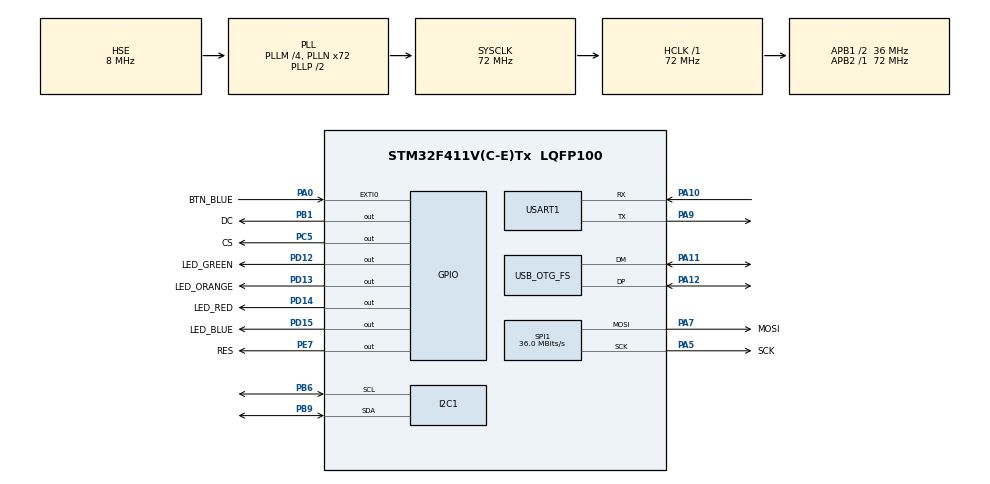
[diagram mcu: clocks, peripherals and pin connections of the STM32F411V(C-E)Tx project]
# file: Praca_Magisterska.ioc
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I2C1.I2C_Mode=I2C_Fast
Mcu.Family=STM32F4
Mcu.Name=STM32F411V(C-E)Tx
Mcu.Package=LQFP100
NVIC.EXTI0_IRQn=true\:0\:0\:false\:false\:true\:true
NVIC.OTG_FS_IRQn=true\:0\:0\:false\:false\:true\:false
NVIC.PriorityGroup=NVIC_PRIORITYGROUP_4
NVIC.TIM1_TRG_COM_TIM11_IRQn=true\:0\:0\:false\:false\:true\:true
NVIC.TIM1_UP_TIM10_IRQn=true\:0\:0\:false\:false\:true\:true
NVIC.USART1_IRQn=true\:0\:0\:false\:false\:true\:true
PA0-WKUP.GPIO_Label=BTN_BLUE
PA0-WKUP.GPIO_ModeDefaultEXTI=GPIO_MODE_IT_RISING_FALLING
PA0-WKUP.Signal=GPXTI0
PA10.Mode=Asynchronous
PA10.Signal=USART1_RX
PA11.Mode=Device_Only
PA11.Signal=USB_OTG_FS_DM
PA12.Mode=Device_Only
PA12.Signal=USB_OTG_FS_DP
PA5.GPIO_Label=SCK
PA5.Mode=TX_Only_Simplex_Unidirect_Master
PA5.Signal=SPI1_SCK
PA7.GPIO_Label=MOSI
PA7.Mode=TX_Only_Simplex_Unidirect_Master
PA7.Signal=SPI1_MOSI
PA9.Mode=Asynchronous
PA9.Signal=USART1_TX
PB1.GPIO_Label=DC
PB1.Signal=GPIO_Output
PB6.Mode=I2C
PB6.Signal=I2C1_SCL
PB9.Mode=I2C
PB9.Signal=I2C1_SDA
PC5.GPIO_Label=CS
PC5.Signal=GPIO_Output
PD12.GPIO_Label=LED_GREEN
PD12.Signal=GPIO_Output
PD13.GPIO_Label=LED_ORANGE
PD13.Signal=GPIO_Output
PD14.GPIO_Label=LED_RED
PD14.Signal=GPIO_Output
PD15.GPIO_Label=LED_BLUE
PD15.Signal=GPIO_Output
PE7.GPIO_Label=RES
PE7.Signal=GPIO_Output
PH0\ -\ OSC_IN.Mode=HSE-External-Oscillator
PH0\ -\ OSC_IN.Signal=RCC_OSC_IN
PH1\ -\ OSC_OUT.Mode=HSE-External-Oscillator
PH1\ -\ OSC_OUT.Signal=RCC_OSC_OUT
ProjectManager.HeapSize=0x200
ProjectManager.StackSize=0x400
ProjectManager.TargetToolchain=SW4STM32
RCC.48MHZClocksFreq_Value=48000000
RCC.AHBFreq_Value=72000000
RCC.APB1CLKDivider=RCC_HCLK_DIV2
RCC.APB1Freq_Value=36000000
RCC.APB1TimFreq_Value=72000000
RCC.APB2Freq_Value=72000000
RCC.APB2TimFreq_Value=72000000
RCC.CortexFreq_Value=72000000
RCC.HCLKFreq_Value=72000000
RCC.HSE_VALUE=8000000
RCC.HSI_VALUE=16000000
RCC.LSE_VALUE=32768
RCC.PLLM=4
RCC.PLLN=72
RCC.PLLQ=3
RCC.RCC_RTC_Clock_Source=RCC_RTCCLKSOURCE_LSI
RCC.RCC_RTC_Clock_SourceVirtual=RCC_RTCCLKSOURCE_LSI
RCC.SYSCLKFreq_VALUE=72000000
RCC.SYSCLKSource=RCC_SYSCLKSOURCE_PLLCLK
RCC.VCOOutputFreq_Value=144000000
SPI1.CalculateBaudRate=36.0 MBits/s
SPI1.Direction=SPI_DIRECTION_2LINES
SPI1.Mode=SPI_MODE_MASTER
SPI1.VirtualType=VM_MASTER
TIM10.Period=4999
TIM10.Prescaler=9999
TIM11.Period=9999
TIM11.Prescaler=9999
USART1.VirtualMode=VM_ASYNC
USB_DEVICE.CLASS_NAME_FS=CDC
USB_DEVICE.VirtualMode=Cdc
USB_DEVICE.VirtualModeFS=Cdc_FS
USB_OTG_FS.VirtualMode=Device_Only
VP_TIM10_VS_ClockSourceINT.Mode=Enable_Timer
VP_TIM11_VS_ClockSourceINT.Mode=Enable_Timer
VP_USB_DEVICE_VS_USB_DEVICE_CDC_FS.Mode=CDC_FS
board=Praca_Magisterska

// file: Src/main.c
/**
  ******************************************************************************
  * @file           : main.c
  * @brief          : Main program body
  ******************************************************************************
  * This notice applies to any and all portions of this file
  * that are not between comment pairs USER CODE BEGIN and
  * USER CODE END. Other portions of this file, whether
  * inserted by the user or by software development tools
  * are owned by their respective copyright owners.
  *
  * Copyright (c) 2018 STMicroelectronics International N.V.
  * All rights reserved.
  *
  * Redistribution and use in source and binary forms, with or without
  * modification, are permitted, provided that the following conditions are met:
  *
  * 1. Redistribution of source code must retain the above copyright notice,
  *    this list of conditions and the following disclaimer.
  * 2. Redistributions in binary form must reproduce the above copyright notice,
  *    this list of conditions and the following disclaimer in the documentation
  *    and/or other materials provided with the distribution.
  * 3. Neither the name of STMicroelectronics nor the names of other
  *    contributors to this software may be used to endorse or promote products
  *    derived from this software without specific written permission.
  * 4. This software, including modifications and/or derivative works of this
  *    software, must execute solely and exclusively on microcontroller or
  *    microprocessor devices manufactured by or for STMicroelectronics.
  * 5. Redistribution and use of this software other than as permitted under
  *    this license is void and will automatically terminate your rights under
  *    this license.
  *
  * THIS SOFTWARE IS PROVIDED BY STMICROELECTRONICS AND CONTRIBUTORS "AS IS"
  * AND ANY EXPRESS, IMPLIED OR STATUTORY WARRANTIES, INCLUDING, BUT NOT
  * LIMITED TO, THE IMPLIED WARRANTIES OF MERCHANTABILITY, FITNESS FOR A
  * PARTICULAR PURPOSE AND NON-INFRINGEMENT OF THIRD PARTY INTELLECTUAL PROPERTY
  * RIGHTS ARE DISCLAIMED TO THE FULLEST EXTENT PERMITTED BY LAW. IN NO EVENT
  * SHALL STMICROELECTRONICS OR CONTRIBUTORS BE LIABLE FOR ANY DIRECT, INDIRECT,
  * INCIDENTAL, SPECIAL, EXEMPLARY, OR CONSEQUENTIAL DAMAGES (INCLUDING, BUT NOT
  * LIMITED TO, PROCUREMENT OF SUBSTITUTE GOODS OR SERVICES; LOSS OF USE, DATA,
  * OR PROFITS; OR BUSINESS INTERRUPTION) HOWEVER CAUSED AND ON ANY THEORY OF
  * LIABILITY, WHETHER IN CONTRACT, STRICT LIABILITY, OR TORT (INCLUDING
  * NEGLIGENCE OR OTHERWISE) ARISING IN ANY WAY OUT OF THE USE OF THIS SOFTWARE,
  * EVEN IF ADVISED OF THE POSSIBILITY OF SUCH DAMAGE.
  *
  ******************************************************************************
  */
#include "main.h"
#include "stm32f4xx_hal.h"
#include "usb_device.h"

/* USER CODE BEGIN Includes */
#include <limits.h>
#include <stdio.h>
#include <math.h>
#include "SSD1331.h"
#include <errno.h>
#include "usbd_cdc_if.h" // Plik bedacy interfejsem uzytkownika do kontrolera USB

/* USER CODE END Includes */

I2C_HandleTypeDef hi2c1;

SPI_HandleTypeDef hspi1;

TIM_HandleTypeDef htim10;
TIM_HandleTypeDef htim11;

UART_HandleTypeDef huart1;

/* USER CODE BEGIN PV */
/* Private variables ---------------------------------------------------------*/
///////////////////////////////////////////////////////////////
/////////////// AKCELEROMETR //////////////////////////////////
///////////////////////////////////////////////////////////////

// Rejestry
#define LSM303_ACC_ADDRESS (0x19 << 1) // adres akcelerometru: 0011001x
#define LSM303_ACC_CTRL_REG1_A 0x20 // rejestr ustawien 1
#define LSM303_ACC_Z_H_A 0x2D // wyzszy bajt danych osi Z
#define LSM303_ACC_Z_L_A 0x2C // nizszy bajt danych osi Z
#define LSM303_ACC_X_L_A 0x28 // mlodszy bajt danych osi X

// mlodszy bajt danych osi X z najstarszym bitem ustawionym na 1 w celu
// wymuszenia autoinkrementacji adresow rejestru w urzadzeniu docelowym
// (zeby moc odczytac wiecej danych na raz)
#define LSM303_ACC_X_L_A_MULTI_READ (LSM303_ACC_X_L_A | 0x80)

// Maski bitowe
// CTRL_REG1_A = [ODR3][ODR2][ODR1][ODR0][LPEN][ZEN][YEN][XEN]
#define LSM303_ACC_XYZ_ENABLE 0x07 // 0000 0111
#define LSM303_ACC_100HZ 0x50 //0101 0000
#define LSM303_ACC_10HZ 0x20 //0010 0000
#define LSM303_ACC_1HZ 0x10 //0001 0000

#define LSM303_ACC_RESOLUTION 2.0 // Maksymalna wartosc przyspieszenia [g]

// Zmienne
uint8_t Data[6]; // Zmienna do bezposredniego odczytu danych z akcelerometru
int16_t Xaxis = 0; // Zawiera przeksztalcona forme odczytanych danych z osi X
int16_t Yaxis = 0; // Zawiera przeksztalcona forme odczytanych danych z osi Y
int16_t Zaxis = 0; // Zawiera przeksztalcona forme odczytanych danych z osi Z

float Xaxis_g = 0; // Zawiera przyspieszenie w osi X przekstalcone na jednostke fizyczna [g]
float Yaxis_g = 0; // Zawiera przyspieszenie w osi Y przekstalcone na jednostke fizyczna [g]
float Zaxis_g = 0; // Zawiera przyspieszenie w osi Z przekstalcone na jednostke fizyczna [g]

///////////////////////////////////////////////////////////////
//////////////////// UART /////////////////////////////////////
///////////////////////////////////////////////////////////////

///////////////////////////////////////////////////////////////
///////////////////// USB /////////////////////////////////////
///////////////////////////////////////////////////////////////

uint8_t DataToSend[40]; // Tablica zawierajaca dane do wyslania
uint8_t MessageCounter = 0; // Licznik wyslanych wiadomosci
uint8_t MessageLength = 0; // Zawiera dlugosc wysylanej wiadomosci

uint8_t ReceivedData[40]; // Tablica przechowujaca odebrane dane
uint8_t ReceivedDataFlag = 0; // Flaga informujaca o odebraniu danych

/* USER CODE END PV */

void SystemClock_Config(void);
static void MX_GPIO_Init(void);
static void MX_I2C1_Init(void);
static void MX_SPI1_Init(void);
static void MX_USART1_UART_Init(void);
static void MX_TIM10_Init(void);
static void MX_TIM11_Init(void);

/* USER CODE BEGIN PFP */
/* Private function prototypes -----------------------------------------------*/
void HAL_TIM_PeriodElapsedCallback(TIM_HandleTypeDef *htim){

	if(htim->Instance == TIM11){ // Je¿eli przerwanie pochodzi od timera 11

		 static uint16_t cnt = 0; // Licznik wyslanych wiadomosci
		 uint8_t data[50];// Tablica przechowujaca wysylana wiadomosc.
		 uint16_t size = 0; // Rozmiar wysylanej wiadomosci ++cnt; // Zwiekszenie licznika wyslanych wiadomosci.

		 ++cnt; // Zwiekszenie licznika wyslanych wiadomosci.
		 size = sprintf(data, "Liczba wyslanych wiadomosci: %d.\n\r", cnt); // Stworzenie wiadomosci do wyslania oraz przypisanie ilosci wysylanych znakow do zmiennej size.
		 HAL_UART_Transmit_IT(&huart1, data, size); // Rozpoczecie nadawania danych z wykorzystaniem przerwan
		 HAL_GPIO_TogglePin(LED_RED_GPIO_Port, LED_RED_Pin); // Zmiana stanu pinu na diodzie LED

		}

	if(htim->Instance == TIM10){ // Je¿eli przerwanie pochodzi od timera 10
		HAL_GPIO_TogglePin(LED_BLUE_GPIO_Port, LED_BLUE_Pin);

		char str_XAxis[13] = "XAxis: ";
		char str_YAxis[13] = "YAxis: ";
		char str_ZAxis[13] = "ZAxis: ";

		update_str_int(Xaxis, 6, str_XAxis);
		update_str_int(Yaxis, 6, str_YAxis);
		update_str_int(Zaxis, 6, str_ZAxis);

//		update_str_float(Xaxis_g, 6, str_XAxis);
//		update_str_float(Yaxis_g, 6, str_YAxis);
//		update_str_float(Zaxis_g, 6, str_ZAxis);

		ssd1331_clear_screen(BLACK);
		ssd1331_display_string(0,  0, str_XAxis, FONT_1206, GREEN);
		ssd1331_display_string(0, 14, str_YAxis, FONT_1206, RED);
		ssd1331_display_string(0, 28, str_ZAxis, FONT_1206, BLUE);

	}
}

///////////////////////////////////////////////////////////////
///////////////////// GPIO /////////////////////////////////////
///////////////////////////////////////////////////////////////

void HAL_GPIO_EXTI_Callback(uint16_t GPIO_Pin){
	HAL_GPIO_TogglePin(LED_ORANGE_GPIO_Port, LED_ORANGE_Pin); // Zmiana stanu pinu na diodzie LED
}

/* USER CODE END PFP */

/* USER CODE BEGIN 0 */

// reverses a string 'str' of length 'len'
void reverse(char *str, int len)
{
    int i=0, j=len-1, temp;
    while (i<j)
    {
        temp = str[i];
        str[i] = str[j];
        str[j] = temp;
        i++; j--;
    }
}

 // Converts a given integer x to string str[].  d is the number
 // of digits required in output. If d is more than the number
 // of digits in x, then 0s are added at the beginning.
int intToStr(int x, char str[], int d)
{
    int i = 0;
    while (x)
    {
        str[i++] = (x%10) + '0';
        x = x/10;
    }

    // If number of digits required is more, then
    // add 0s at the beginning
    while (i < d)
        str[i++] = '0';

    reverse(str, i);
    str[i] = '\0';
    return i;
}

// Converts a floating point number to string.
void ftoa(float n, char *res, int afterpoint)
{
    // Extract integer part
    int ipart = (int)n;

    // Extract floating part
    float fpart = n - (float)ipart;

    // convert integer part to string
    int i = intToStr(ipart, res, 0);

    // check for display option after point
    if (afterpoint != 0)
    {
        res[i] = '.';  // add dot

        // Get the value of fraction part up to given no.
        // of points after dot. The third parameter is needed
        // to handle cases like 233.007
        fpart = fpart * 1000;

        intToStr((int)fpart, res + i + 1, afterpoint);
    }
}

///////////////////////////////////////////////////////////////
///////////////////// MOJE FUNKCJE ////////////////////////////
///////////////////////////////////////////////////////////////

//konwersja typu int na char[]
void update_str_int(int16_t number, int size, char string[]){
	char tmp_str[size];
	sprintf(tmp_str, "%d", number);

	const int przesuniecie_napisu = 7;
	int i = 0;
	for(i = 0; i < size; ++i){
		string[i + przesuniecie_napisu] = tmp_str[i];
	}
}

//konwersja typu float na char[]
void update_str_float(float number, int size, char string[]){
	char tmp_str[size];
	ftoa(number, tmp_str, 4);
	const int przesuniecie_napisu = 7;
	int i = 0;
	for(i = 0; i < size; ++i){
		string[i + przesuniecie_napisu] = tmp_str[i];
	}
}

/* USER CODE END 0 */

int main(void)
{

  /* MCU Configuration----------------------------------------------------------*/

  /* Reset of all peripherals, Initializes the Flash interface and the Systick. */
  HAL_Init();

  /* Configure the system clock */
  SystemClock_Config();

  /* Initialize all configured peripherals */
  MX_GPIO_Init();
  MX_I2C1_Init();
  MX_SPI1_Init();
  MX_USART1_UART_Init();
  MX_TIM10_Init();
  MX_TIM11_Init();
  MX_USB_DEVICE_Init();
  /* USER CODE BEGIN 2 */
  ///////////////////////////////////////////////////////////////
  /////////////// AKCELEROMETR //////////////////////////////////
  ///////////////////////////////////////////////////////////////
  // wypelnienie zmiennej konfiguracyjnej odpowiednimi opcjami
  uint8_t Settings = LSM303_ACC_XYZ_ENABLE | LSM303_ACC_10HZ;

  // Wpisanie konfiguracji do rejestru akcelerometru
  HAL_I2C_Mem_Write(&hi2c1, LSM303_ACC_ADDRESS, LSM303_ACC_CTRL_REG1_A, 1, &Settings, 1, 100);

  ///////////////////////////////////////////////////////////////
  ///////////////// SPI - OLED //////////////////////////////////
  ///////////////////////////////////////////////////////////////
  ssd1331_init();
  ssd1331_clear_screen(BLACK);

  ///////////////////////////////////////////////////////////////
  ///////////////// TIMER's /////////////////////////////////////
  ///////////////////////////////////////////////////////////////
  HAL_TIM_Base_Start_IT(&htim10);
  HAL_TIM_Base_Start_IT(&htim11);

  ///////////////////////////////////////////////////////////////
  //////////////////// UART /////////////////////////////////////
  ///////////////////////////////////////////////////////////////

  /* USER CODE END 2 */

  /* Infinite loop */
  /* USER CODE BEGIN WHILE */
  while (1)
  {

	  ///////////////////////////////////////////////////////////////
	  /////////////// AKCELEROMETR //////////////////////////////////
	  ///////////////////////////////////////////////////////////////
	HAL_I2C_Mem_Read(&hi2c1, LSM303_ACC_ADDRESS, LSM303_ACC_X_L_A_MULTI_READ, 1, Data, 6, 100);
	Xaxis = ((Data[1] << 8) | Data[0]);
	Yaxis = ((Data[3] << 8) | Data[2]);
	Zaxis = ((Data[5] << 8) | Data[4]);

	// obliczenie przyspieszen w kazdej z osi w jednostce SI [g]
	 Xaxis_g = ((float) Xaxis * LSM303_ACC_RESOLUTION) / (float) INT16_MAX;
	 Yaxis_g = ((float) Yaxis * LSM303_ACC_RESOLUTION) / (float) INT16_MAX;
	 Zaxis_g = ((float) Zaxis * LSM303_ACC_RESOLUTION) / (float) INT16_MAX;

	 if (HAL_GPIO_ReadPin(BTN_BLUE_GPIO_Port, BTN_BLUE_Pin) == GPIO_PIN_SET) {
	  HAL_Delay(100);
	  if (HAL_GPIO_ReadPin(BTN_BLUE_GPIO_Port, BTN_BLUE_Pin) == GPIO_PIN_SET) {
		  ++MessageCounter;
		   MessageLength = sprintf(DataToSend, "Wiadomosc nr %d\n\r", MessageCounter);
		   CDC_Transmit_FS(DataToSend, MessageLength);
	  }
	 }

	 // Odeslanie odebranych danych przez USB
	 if(ReceivedDataFlag == 1){
	  ReceivedDataFlag = 0;

	  MessageLength = sprintf(DataToSend, "Odebrano: %s\n\r", ReceivedData);
	  CDC_Transmit_FS(DataToSend, MessageLength);
	 }

  /* USER CODE END WHILE */

  }

}

void SystemClock_Config(void)
{

  RCC_OscInitTypeDef RCC_OscInitStruct;
  RCC_ClkInitTypeDef RCC_ClkInitStruct;

    /**Configure the main internal regulator output voltage
    */
  __HAL_RCC_PWR_CLK_ENABLE();

  __HAL_PWR_VOLTAGESCALING_CONFIG(PWR_REGULATOR_VOLTAGE_SCALE1);

    /**Initializes the CPU, AHB and APB busses clocks
    */
  RCC_OscInitStruct.OscillatorType = RCC_OSCILLATORTYPE_HSE;
  RCC_OscInitStruct.HSEState = RCC_HSE_ON;
  RCC_OscInitStruct.PLL.PLLState = RCC_PLL_ON;
  RCC_OscInitStruct.PLL.PLLSource = RCC_PLLSOURCE_HSE;
  RCC_OscInitStruct.PLL.PLLM = 4;
  RCC_OscInitStruct.PLL.PLLN = 72;
  RCC_OscInitStruct.PLL.PLLP = RCC_PLLP_DIV2;
  RCC_OscInitStruct.PLL.PLLQ = 3;
  if (HAL_RCC_OscConfig(&RCC_OscInitStruct) != HAL_OK)
  {
    _Error_Handler(__FILE__, __LINE__);
  }

    /**Initializes the CPU, AHB and APB busses clocks
    */
  RCC_ClkInitStruct.ClockType = RCC_CLOCKTYPE_HCLK|RCC_CLOCKTYPE_SYSCLK
                              |RCC_CLOCKTYPE_PCLK1|RCC_CLOCKTYPE_PCLK2;
  RCC_ClkInitStruct.SYSCLKSource = RCC_SYSCLKSOURCE_PLLCLK;
  RCC_ClkInitStruct.AHBCLKDivider = RCC_SYSCLK_DIV1;
  RCC_ClkInitStruct.APB1CLKDivider = RCC_HCLK_DIV2;
  RCC_ClkInitStruct.APB2CLKDivider = RCC_HCLK_DIV1;

  if (HAL_RCC_ClockConfig(&RCC_ClkInitStruct, FLASH_LATENCY_2) != HAL_OK)
  {
    _Error_Handler(__FILE__, __LINE__);
  }

    /**Configure the Systick interrupt time
    */
  HAL_SYSTICK_Config(HAL_RCC_GetHCLKFreq()/1000);

    /**Configure the Systick
    */
  HAL_SYSTICK_CLKSourceConfig(SYSTICK_CLKSOURCE_HCLK);

  /* SysTick_IRQn interrupt configuration */
  HAL_NVIC_SetPriority(SysTick_IRQn, 0, 0);
}

/* I2C1 init function */
static void MX_I2C1_Init(void)
{

  hi2c1.Instance = I2C1;
  hi2c1.Init.ClockSpeed = 400000;
  hi2c1.Init.DutyCycle = I2C_DUTYCYCLE_2;
  hi2c1.Init.OwnAddress1 = 0;
  hi2c1.Init.AddressingMode = I2C_ADDRESSINGMODE_7BIT;
  hi2c1.Init.DualAddressMode = I2C_DUALADDRESS_DISABLE;
  hi2c1.Init.OwnAddress2 = 0;
  hi2c1.Init.GeneralCallMode = I2C_GENERALCALL_DISABLE;
  hi2c1.Init.NoStretchMode = I2C_NOSTRETCH_DISABLE;
  if (HAL_I2C_Init(&hi2c1) != HAL_OK)
  {
    _Error_Handler(__FILE__, __LINE__);
  }

}

/* SPI1 init function */
static void MX_SPI1_Init(void)
{

  /* SPI1 parameter configuration*/
  hspi1.Instance = SPI1;
  hspi1.Init.Mode = SPI_MODE_MASTER;
  hspi1.Init.Direction = SPI_DIRECTION_2LINES;
  hspi1.Init.DataSize = SPI_DATASIZE_8BIT;
  hspi1.Init.CLKPolarity = SPI_POLARITY_LOW;
  hspi1.Init.CLKPhase = SPI_PHASE_1EDGE;
  hspi1.Init.NSS = SPI_NSS_SOFT;
  hspi1.Init.BaudRatePrescaler = SPI_BAUDRATEPRESCALER_2;
  hspi1.Init.FirstBit = SPI_FIRSTBIT_MSB;
  hspi1.Init.TIMode = SPI_TIMODE_DISABLE;
  hspi1.Init.CRCCalculation = SPI_CRCCALCULATION_DISABLE;
  hspi1.Init.CRCPolynomial = 10;
  if (HAL_SPI_Init(&hspi1) != HAL_OK)
  {
    _Error_Handler(__FILE__, __LINE__);
  }

}

/* TIM10 init function */
static void MX_TIM10_Init(void)
{

  htim10.Instance = TIM10;
  htim10.Init.Prescaler = 9999;
  htim10.Init.CounterMode = TIM_COUNTERMODE_UP;
  htim10.Init.Period = 4999;
  htim10.Init.ClockDivision = TIM_CLOCKDIVISION_DIV1;
  if (HAL_TIM_Base_Init(&htim10) != HAL_OK)
  {
    _Error_Handler(__FILE__, __LINE__);
  }

}

/* TIM11 init function */
static void MX_TIM11_Init(void)
{

  htim11.Instance = TIM11;
  htim11.Init.Prescaler = 9999;
  htim11.Init.CounterMode = TIM_COUNTERMODE_UP;
  htim11.Init.Period = 9999;
  htim11.Init.ClockDivision = TIM_CLOCKDIVISION_DIV1;
  if (HAL_TIM_Base_Init(&htim11) != HAL_OK)
  {
    _Error_Handler(__FILE__, __LINE__);
  }

}

/* USART1 init function */
static void MX_USART1_UART_Init(void)
{

  huart1.Instance = USART1;
  huart1.Init.BaudRate = 115200;
  huart1.Init.WordLength = UART_WORDLENGTH_8B;
  huart1.Init.StopBits = UART_STOPBITS_1;
  huart1.Init.Parity = UART_PARITY_NONE;
  huart1.Init.Mode = UART_MODE_TX_RX;
  huart1.Init.HwFlowCtl = UART_HWCONTROL_NONE;
  huart1.Init.OverSampling = UART_OVERSAMPLING_16;
  if (HAL_UART_Init(&huart1) != HAL_OK)
  {
    _Error_Handler(__FILE__, __LINE__);
  }

}

/** Configure pins as
        * Analog
        * Input
        * Output
        * EVENT_OUT
        * EXTI
*/
static void MX_GPIO_Init(void)
{

  GPIO_InitTypeDef GPIO_InitStruct;

  /* GPIO Ports Clock Enable */
  __HAL_RCC_GPIOH_CLK_ENABLE();
  __HAL_RCC_GPIOA_CLK_ENABLE();
  __HAL_RCC_GPIOC_CLK_ENABLE();
  __HAL_RCC_GPIOB_CLK_ENABLE();
  __HAL_RCC_GPIOE_CLK_ENABLE();
  __HAL_RCC_GPIOD_CLK_ENABLE();

  /*Configure GPIO pin Output Level */
  HAL_GPIO_WritePin(CS_GPIO_Port, CS_Pin, GPIO_PIN_RESET);

  /*Configure GPIO pin Output Level */
  HAL_GPIO_WritePin(DC_GPIO_Port, DC_Pin, GPIO_PIN_RESET);

  /*Configure GPIO pin Output Level */
  HAL_GPIO_WritePin(RES_GPIO_Port, RES_Pin, GPIO_PIN_RESET);

  /*Configure GPIO pin Output Level */
  HAL_GPIO_WritePin(GPIOD, LED_GREEN_Pin|LED_ORANGE_Pin|LED_RED_Pin|LED_BLUE_Pin, GPIO_PIN_RESET);

  /*Configure GPIO pin : BTN_BLUE_Pin */
  GPIO_InitStruct.Pin = BTN_BLUE_Pin;
  GPIO_InitStruct.Mode = GPIO_MODE_IT_RISING_FALLING;
  GPIO_InitStruct.Pull = GPIO_NOPULL;
  HAL_GPIO_Init(BTN_BLUE_GPIO_Port, &GPIO_InitStruct);

  /*Configure GPIO pin : CS_Pin */
  GPIO_InitStruct.Pin = CS_Pin;
  GPIO_InitStruct.Mode = GPIO_MODE_OUTPUT_PP;
  GPIO_InitStruct.Pull = GPIO_NOPULL;
  GPIO_InitStruct.Speed = GPIO_SPEED_FREQ_LOW;
  HAL_GPIO_Init(CS_GPIO_Port, &GPIO_InitStruct);

  /*Configure GPIO pin : DC_Pin */
  GPIO_InitStruct.Pin = DC_Pin;
  GPIO_InitStruct.Mode = GPIO_MODE_OUTPUT_PP;
  GPIO_InitStruct.Pull = GPIO_NOPULL;
  GPIO_InitStruct.Speed = GPIO_SPEED_FREQ_LOW;
  HAL_GPIO_Init(DC_GPIO_Port, &GPIO_InitStruct);

  /*Configure GPIO pin : RES_Pin */
  GPIO_InitStruct.Pin = RES_Pin;
  GPIO_InitStruct.Mode = GPIO_MODE_OUTPUT_PP;
  GPIO_InitStruct.Pull = GPIO_NOPULL;
  GPIO_InitStruct.Speed = GPIO_SPEED_FREQ_LOW;
  HAL_GPIO_Init(RES_GPIO_Port, &GPIO_InitStruct);

  /*Configure GPIO pins : LED_GREEN_Pin LED_ORANGE_Pin LED_RED_Pin LED_BLUE_Pin */
  GPIO_InitStruct.Pin = LED_GREEN_Pin|LED_ORANGE_Pin|LED_RED_Pin|LED_BLUE_Pin;
  GPIO_InitStruct.Mode = GPIO_MODE_OUTPUT_PP;
  GPIO_InitStruct.Pull = GPIO_NOPULL;
  GPIO_InitStruct.Speed = GPIO_SPEED_FREQ_LOW;
  HAL_GPIO_Init(GPIOD, &GPIO_InitStruct);

  /* EXTI interrupt init*/
  HAL_NVIC_SetPriority(EXTI0_IRQn, 0, 0);
  HAL_NVIC_EnableIRQ(EXTI0_IRQn);

}

void _Error_Handler(char *file, int line)
{
  while(1)
  {
  }
}

/************************ (C) COPYRIGHT STMicroelectronics *****END OF FILE****/
